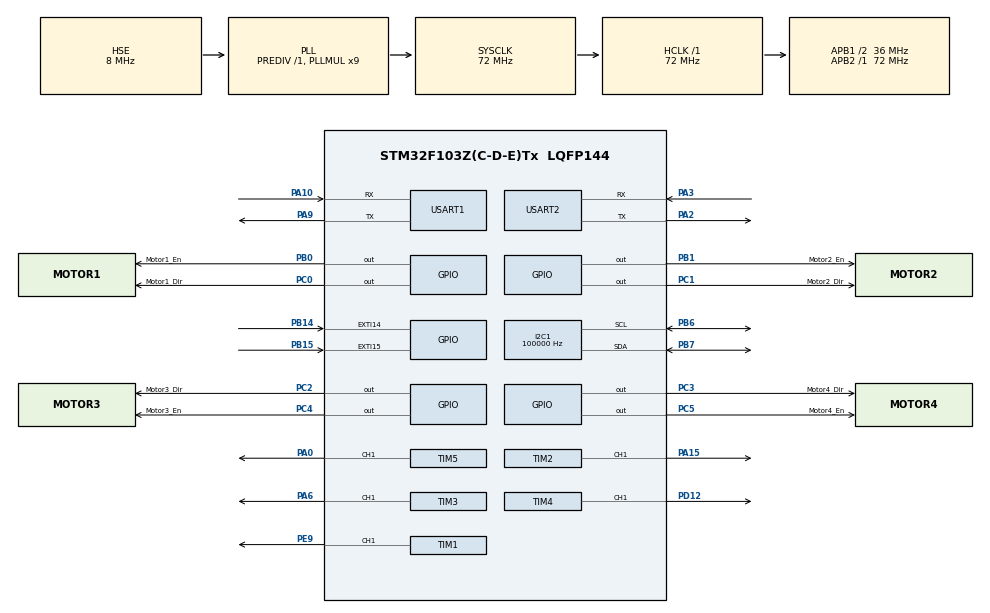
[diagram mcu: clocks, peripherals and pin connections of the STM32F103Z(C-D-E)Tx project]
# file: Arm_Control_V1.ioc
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Dma.Request0=TIM5_CH1
Dma.Request1=USART1_RX
Dma.Request2=USART2_RX
Dma.Request3=USART2_TX
Dma.TIM5_CH1.0.Direction=DMA_MEMORY_TO_PERIPH
Dma.TIM5_CH1.0.Instance=DMA2_Channel5
Dma.TIM5_CH1.0.MemDataAlignment=DMA_MDATAALIGN_HALFWORD
Dma.TIM5_CH1.0.MemInc=DMA_MINC_ENABLE
Dma.TIM5_CH1.0.Mode=DMA_NORMAL
Dma.TIM5_CH1.0.PeriphDataAlignment=DMA_PDATAALIGN_HALFWORD
Dma.TIM5_CH1.0.PeriphInc=DMA_PINC_DISABLE
Dma.TIM5_CH1.0.Priority=DMA_PRIORITY_MEDIUM
Dma.USART1_RX.1.Direction=DMA_PERIPH_TO_MEMORY
Dma.USART1_RX.1.Instance=DMA1_Channel5
Dma.USART1_RX.1.MemDataAlignment=DMA_MDATAALIGN_BYTE
Dma.USART1_RX.1.MemInc=DMA_MINC_ENABLE
Dma.USART1_RX.1.Mode=DMA_NORMAL
Dma.USART1_RX.1.PeriphDataAlignment=DMA_PDATAALIGN_BYTE
Dma.USART1_RX.1.PeriphInc=DMA_PINC_DISABLE
Dma.USART1_RX.1.Priority=DMA_PRIORITY_LOW
Dma.USART2_RX.2.Direction=DMA_PERIPH_TO_MEMORY
Dma.USART2_RX.2.Instance=DMA1_Channel6
Dma.USART2_RX.2.MemDataAlignment=DMA_MDATAALIGN_BYTE
Dma.USART2_RX.2.MemInc=DMA_MINC_ENABLE
Dma.USART2_RX.2.Mode=DMA_NORMAL
Dma.USART2_RX.2.PeriphDataAlignment=DMA_PDATAALIGN_BYTE
Dma.USART2_RX.2.PeriphInc=DMA_PINC_DISABLE
Dma.USART2_RX.2.Priority=DMA_PRIORITY_LOW
Dma.USART2_TX.3.Direction=DMA_MEMORY_TO_PERIPH
Dma.USART2_TX.3.Instance=DMA1_Channel7
Dma.USART2_TX.3.MemDataAlignment=DMA_MDATAALIGN_BYTE
Dma.USART2_TX.3.MemInc=DMA_MINC_ENABLE
Dma.USART2_TX.3.Mode=DMA_NORMAL
Dma.USART2_TX.3.PeriphDataAlignment=DMA_PDATAALIGN_BYTE
Dma.USART2_TX.3.PeriphInc=DMA_PINC_DISABLE
Dma.USART2_TX.3.Priority=DMA_PRIORITY_LOW
I2C1.ClockSpeed=100000
Mcu.Family=STM32F1
Mcu.Name=STM32F103Z(C-D-E)Tx
Mcu.Package=LQFP144
NVIC.DMA1_Channel5_IRQn=true\:0\:0\:false\:false\:true\:false\:true\:true
NVIC.DMA1_Channel6_IRQn=true\:0\:0\:false\:false\:true\:false\:true\:true
NVIC.DMA1_Channel7_IRQn=true\:0\:0\:false\:false\:true\:false\:true\:true
NVIC.DMA2_Channel4_5_IRQn=true\:0\:0\:false\:false\:true\:false\:true\:true
NVIC.EXTI15_10_IRQn=true\:0\:0\:false\:false\:true\:true\:true\:true
NVIC.I2C1_EV_IRQn=true\:0\:0\:false\:false\:true\:true\:true\:true
NVIC.PriorityGroup=NVIC_PRIORITYGROUP_4
NVIC.TIM1_CC_IRQn=true\:0\:0\:false\:false\:true\:true\:true\:true
NVIC.TIM2_IRQn=true\:0\:0\:false\:false\:true\:true\:true\:true
NVIC.TIM3_IRQn=true\:0\:0\:false\:false\:true\:true\:true\:true
NVIC.TIM4_IRQn=true\:0\:0\:false\:false\:true\:true\:true\:true
NVIC.TIM5_IRQn=true\:0\:0\:false\:false\:true\:true\:true\:true
NVIC.TIM8_UP_IRQn=true\:15\:0\:false\:false\:true\:false\:true\:true
NVIC.TimeBase=TIM8_UP_IRQn
NVIC.TimeBaseIP=TIM8
NVIC.USART1_IRQn=true\:0\:0\:false\:false\:true\:true\:true\:true
NVIC.USART2_IRQn=true\:0\:0\:false\:false\:true\:true\:true\:true
OSC_IN.Mode=HSE-External-Oscillator
OSC_IN.Signal=RCC_OSC_IN
OSC_OUT.Mode=HSE-External-Oscillator
OSC_OUT.Signal=RCC_OSC_OUT
PA0-WKUP.Signal=S_TIM5_CH1
PA10.GPIO_PuPd=GPIO_PULLUP
PA10.Mode=Asynchronous
PA10.Signal=USART1_RX
PA13.Mode=Serial_Wire
PA13.Signal=SYS_JTMS-SWDIO
PA14.Mode=Serial_Wire
PA14.Signal=SYS_JTCK-SWCLK
PA15.Signal=S_TIM2_CH1_ETR
PA2.Mode=Asynchronous
PA2.Signal=USART2_TX
PA3.GPIO_PuPd=GPIO_PULLUP
PA3.Mode=Asynchronous
PA3.Signal=USART2_RX
PA6.Signal=S_TIM3_CH1
PA9.Mode=Asynchronous
PA9.Signal=USART1_TX
PB0.GPIO_Label=Motor1_En
PB0.Signal=GPIO_Output
PB1.GPIO_Label=Motor2_En
PB1.Signal=GPIO_Output
PB14.GPIO_ModeDefaultEXTI=GPIO_MODE_IT_RISING_FALLING
PB14.GPIO_PuPd=GPIO_PULLDOWN
PB14.Signal=GPXTI14
PB15.GPIO_ModeDefaultEXTI=GPIO_MODE_IT_RISING_FALLING
PB15.GPIO_PuPd=GPIO_PULLDOWN
PB15.Signal=GPXTI15
PB6.Mode=I2C
PB6.Signal=I2C1_SCL
PB7.Mode=I2C
PB7.Signal=I2C1_SDA
PC0.GPIO_Label=Motor1_Dir
PC0.Signal=GPIO_Output
PC1.GPIO_Label=Motor2_Dir
PC1.Signal=GPIO_Output
PC2.GPIO_Label=Motor3_Dir
PC2.Signal=GPIO_Output
PC3.GPIO_Label=Motor4_Dir
PC3.Signal=GPIO_Output
PC4.GPIO_Label=Motor3_En
PC4.Signal=GPIO_Output
PC5.GPIO_Label=Motor4_En
PC5.Signal=GPIO_Output
PD12.Signal=S_TIM4_CH1
PE9.Signal=S_TIM1_CH1
ProjectManager.HeapSize=0x200
ProjectManager.StackSize=0x400
ProjectManager.TargetToolchain=MDK-ARM V5.32
RCC.AHBFreq_Value=72000000
RCC.APB1CLKDivider=RCC_HCLK_DIV2
RCC.APB1Freq_Value=36000000
RCC.APB1TimFreq_Value=72000000
RCC.APB2Freq_Value=72000000
RCC.APB2TimFreq_Value=72000000
RCC.HCLKFreq_Value=72000000
RCC.PLLMUL=RCC_PLL_MUL9
RCC.PLLSourceVirtual=RCC_PLLSOURCE_HSE
RCC.SYSCLKFreq_VALUE=72000000
RCC.SYSCLKSource=RCC_SYSCLKSOURCE_PLLCLK
RCC.USBFreq_Value=72000000
SH.S_TIM1_CH1.0=TIM1_CH1,Output Compare1 CH1
SH.S_TIM2_CH1_ETR.0=TIM2_CH1,Output Compare1 CH1
SH.S_TIM3_CH1.0=TIM3_CH1,Output Compare1 CH1
SH.S_TIM4_CH1.0=TIM4_CH1,Output Compare1 CH1
SH.S_TIM5_CH1.0=TIM5_CH1,PWM Generation1 CH1
TIM1.Channel-Output\ Compare1\ CH1=TIM_CHANNEL_1
TIM1.OC1Preload=ENABLE
TIM1.OCMode_1=TIM_OCMODE_TOGGLE
TIM1.Prescaler=16-1
TIM2.Channel-Output\ Compare1\ CH1=TIM_CHANNEL_1
TIM2.OC1Preload=ENABLE
TIM2.OCMode_1=TIM_OCMODE_TOGGLE
TIM2.Prescaler=16-1
TIM3.Channel-Output\ Compare1\ CH1=TIM_CHANNEL_1
TIM3.OC1Preload=ENABLE
TIM3.OCMode_1=TIM_OCMODE_TOGGLE
TIM3.Prescaler=16-1
TIM4.Channel-Output\ Compare1\ CH1=TIM_CHANNEL_1
TIM4.OC1Preload=ENABLE
TIM4.OCMode_1=TIM_OCMODE_TOGGLE
TIM4.Prescaler=16-1
TIM5.Channel-PWM\ Generation1\ CH1=TIM_CHANNEL_1
TIM5.OC1Preload_PWM=ENABLE
TIM5.OCPolarity_1=TIM_OCPOLARITY_HIGH
TIM5.Period=90
USART1.VirtualMode=VM_ASYNC
USART2.VirtualMode=VM_ASYNC
VP_SYS_VS_tim8.Mode=TIM8
VP_TIM1_VS_ClockSourceINT.Mode=Internal
VP_TIM2_VS_ClockSourceINT.Mode=Internal
VP_TIM3_VS_ClockSourceINT.Mode=Internal
VP_TIM4_VS_ClockSourceINT.Mode=Internal
VP_TIM5_VS_ClockSourceINT.Mode=Internal
board=custom

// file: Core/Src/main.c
/* USER CODE BEGIN Header */
/**
 ******************************************************************************
 * @file           : main.c
 * @brief          : Main program body
 ******************************************************************************
 * @attention
 *
 * Copyright (c) 2023 STMicroelectronics.
 * All rights reserved.
 *
 * This software is licensed under terms that can be found in the LICENSE file
 * in the root directory of this software component.
 * If no LICENSE file comes with this software, it is provided AS-IS.
 *
 ******************************************************************************
 */
/* USER CODE END Header */
#include "main.h"
#include "dma.h"
#include "i2c.h"
#include "tim.h"
#include "usart.h"
#include "gpio.h"

/* USER CODE BEGIN Includes */
#include "stdio.h"
#include "math.h"
#include "arm_math.h"
#include "motor.h"
#include "robot.h"
#include "ANO.h"
#include "string.h"
#include "3-JointSolution.h"
/* USER CODE END Includes */

void SystemClock_Config(void);
/* USER CODE BEGIN PFP */
extern sROBOTIC_ARM scara;
extern ThreeJointsARM _ARM;
extern int32_t value1, value2, value3, value4, value5;
uint8_t TestBuffer[100] = {0};
uint8_t flag_rx = 0;
uint8_t i = 0;
int pos[2]={0,0};
extern int flag_run;
extern float x,y,z;
/* USER CODE END PFP */

int main(void)
{

  /* MCU Configuration--------------------------------------------------------*/

  /* Reset of all peripherals, Initializes the Flash interface and the Systick. */
  HAL_Init();

  /* Configure the system clock */
  SystemClock_Config();

  /* Initialize all configured peripherals */
  MX_GPIO_Init();
  MX_DMA_Init();
  MX_TIM1_Init();
  MX_TIM2_Init();
  MX_TIM3_Init();
  MX_TIM4_Init();
  MX_I2C1_Init();
  MX_TIM5_Init();
  MX_USART2_UART_Init();
  MX_USART1_UART_Init();
  /* USER CODE BEGIN 2 */

  __HAL_UART_ENABLE_IT(&huart2,UART_IT_IDLE);  //使能空闲中断
	HAL_UART_Receive_DMA(&huart2,UART2_RX_BUF,UART2_RX_SIZE);  //启动DMA接收，UART1_RX_BUF：数据接收缓冲

	HAL_Delay(2000);

  /************************三轴解算代码DEMO*******************************/
  // 机械臂初始化
  InitializeArmPosture(&_ARM, 0, 0, 0, 0);
//	printf("初始化完成\n");
//  // 机械臂复位
//  reset_position();
//	printf("等待复位完成\n");
//	while(pos[0]==0||pos[1]==0)
//	{
//		printf("pos0=%d,pos1=%d\n",pos[0],pos[1]);
//	};
//	printf("复位完成\n");
  // 设定目标点
  OperatePostureData(&_ARM, 100, 100, 200);
  // 启动机械臂
  UpdateArmPosture(&_ARM);
  /**********************************************************************/

  /***********************二轴SCARA解算代码DEMO****************************/
  //    initScara();
  //		init_arm();
  //    move(0, 80, 0);
  /***********************************************************************/
  /* USER CODE END 2 */

  /* Infinite loop */
  /* USER CODE BEGIN WHILE */
  while (1)
  {
		if(flag_run==1)
		{
			flag_run=0;
			printf("111\r\n");
			// 设定目标点
			OperatePostureData(&_ARM, x, y, z);
			while(1);
			// 启动机械臂
			UpdateArmPosture(&_ARM);
		}
    /* USER CODE END WHILE */

  }
}

void SystemClock_Config(void)
{
  RCC_OscInitTypeDef RCC_OscInitStruct = {0};
  RCC_ClkInitTypeDef RCC_ClkInitStruct = {0};

  /** Initializes the RCC Oscillators according to the specified parameters
   * in the RCC_OscInitTypeDef structure.
   */
  RCC_OscInitStruct.OscillatorType = RCC_OSCILLATORTYPE_HSE;
  RCC_OscInitStruct.HSEState = RCC_HSE_ON;
  RCC_OscInitStruct.HSEPredivValue = RCC_HSE_PREDIV_DIV1;
  RCC_OscInitStruct.HSIState = RCC_HSI_ON;
  RCC_OscInitStruct.PLL.PLLState = RCC_PLL_ON;
  RCC_OscInitStruct.PLL.PLLSource = RCC_PLLSOURCE_HSE;
  RCC_OscInitStruct.PLL.PLLMUL = RCC_PLL_MUL9;
  if (HAL_RCC_OscConfig(&RCC_OscInitStruct) != HAL_OK)
  {
    Error_Handler();
  }

  /** Initializes the CPU, AHB and APB buses clocks
   */
  RCC_ClkInitStruct.ClockType = RCC_CLOCKTYPE_HCLK | RCC_CLOCKTYPE_SYSCLK | RCC_CLOCKTYPE_PCLK1 | RCC_CLOCKTYPE_PCLK2;
  RCC_ClkInitStruct.SYSCLKSource = RCC_SYSCLKSOURCE_PLLCLK;
  RCC_ClkInitStruct.AHBCLKDivider = RCC_SYSCLK_DIV1;
  RCC_ClkInitStruct.APB1CLKDivider = RCC_HCLK_DIV2;
  RCC_ClkInitStruct.APB2CLKDivider = RCC_HCLK_DIV1;

  if (HAL_RCC_ClockConfig(&RCC_ClkInitStruct, FLASH_LATENCY_2) != HAL_OK)
  {
    Error_Handler();
  }
}

void HAL_TIM_PeriodElapsedCallback(TIM_HandleTypeDef *htim)
{
  if (htim->Instance == TIM8)
  {
    HAL_IncTick();
  }
}

void Error_Handler(void)
{
  __disable_irq();
  while (1)
  {
  }
}
